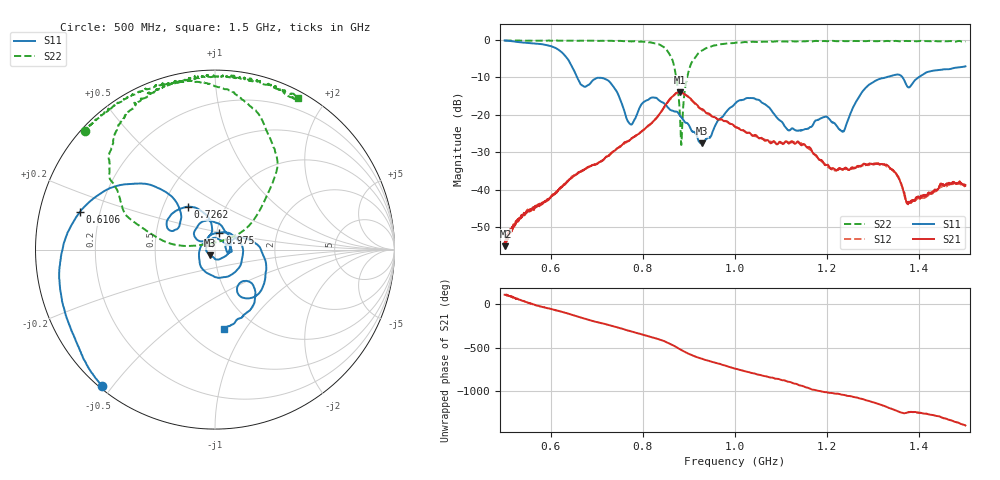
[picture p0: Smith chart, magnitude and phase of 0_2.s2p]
!Agilent Technologies,E8364B,US42250235,A.06.04.32
!Agilent E8364B: A.06.04.32
!Date: Friday, January 15, 2021 13:48:31
!Correction: S11(Full 2 Port(1,2)) S21(Full 2 Port(1,2)) S12(Full 2 Port(1,2)) S22(Full 2 Port(1,2))
!S2P File: Measurements: S11, S21, S12, S22:
# Hz S  dB  R 50
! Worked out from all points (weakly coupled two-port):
!   1601 points, 500 MHz to 1.5 GHz, reference 50 ohm
!   highest |S21| = -13.96 dB at 880 MHz (marker M1); lowest = -55.1 dB at 501.9 MHz (marker M2)
!   lowest |S11| = -27.7 dB at 927.5 MHz (marker M3), VSWR 1.09, Z = 47.3 - j3.01 ohm
!   |S11| at or under -10 dB: 657.5 MHz to 1.328 GHz (670.3 MHz wide, 67.5 % of centre); 1.364 GHz to 1.398 GHz (34.48 MHz wide, 2.5 % of centre)
!   |S22| runs from -28.1 to -0.1 dB; largest |S21 - S12| = 0.0044
!   S11 on the Smith chart (normalised r, x): 500 MHz: 0.01, -0.47; 610.6 MHz: 0.12, +0.13; 726.2 MHz: 0.67, +0.35; 975 MHz: 1.03, +0.20; 1.5 GHz: 0.73, -0.80
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5e8  -0.12 -129.5  -54.20 110.3  -54.15 112.5  -0.16 137.7
5.01875e8  -0.14 -130.4  -55.13 110.3  -54.12 107.0  -0.15 137.5
6.10625e8  -2.13 164.6  -40.89 -69.1  -41.05 -68.3  -0.16 127.1
6.66875e8  -12.02 140.1  -35.00 -155.4  -35.09 -155.8  -0.18 121.2
7.2625e8  -10.99 122.2  -30.87 120.4  -30.81 120.0  -0.22 113.5
7.725e8  -22.51 125.8  -26.66 50.9  -26.55 50.3  -0.37 106.1
8.3375e8  -15.98 96.1  -20.21 -42.3  -20.26 -43.1  -1.09 83.0
8.65e8  -18.91 53.3  -15.04 -112.6  -15.14 -112.4  -5.66 50.5
8.8e8  -20.13 26.4  -13.96 -157.6  -14.06 -157.7  -19.00 36.8
8.85625e8  -20.99 11.3  -14.10 -175.0  -14.16 -175.2  -22.36 159.2
9.025e8  -23.40 -34.7  -15.56 140.7  -15.66 139.7  -7.06 162.4
9.275e8  -27.66 -130.0  -18.43 92.6  -18.63 91.8  -2.87 145.2
9.75e8  -20.24 75.6  -21.60 17.0  -21.56 18.1  -1.06 125.9
1e9  -17.07 20.2  -23.21 -23.3  -23.11 -22.2  -0.77 119.2
1.04875e9  -15.93 -78.2  -25.87 -91.0  -25.90 -88.6  -0.53 111.7
1.115e9  -24.11 119.9  -27.56 -174.6  -27.42 -173.0  -0.40 102.2
1.166875e9  -23.08 23.8  -29.64 95.9  -29.78 98.0  -0.37 97.1
1.234375e9  -24.52 12.9  -34.67 34.4  -34.59 34.9  -0.27 90.5
1.28e9  -13.27 11.9  -33.04 -20.4  -33.50 -20.9  -0.32 85.2
1.33375e9  -9.77 -30.6  -33.90 -116.9  -34.12 -115.8  -0.28 80.4
1.37625e9  -12.69 -53.6  -43.68 -167.3  -43.63 -167.7  -0.28 76.0
1.5e9  -7.05 -83.7  -38.76 40.4  -39.30 39.6  -0.33 61.1
